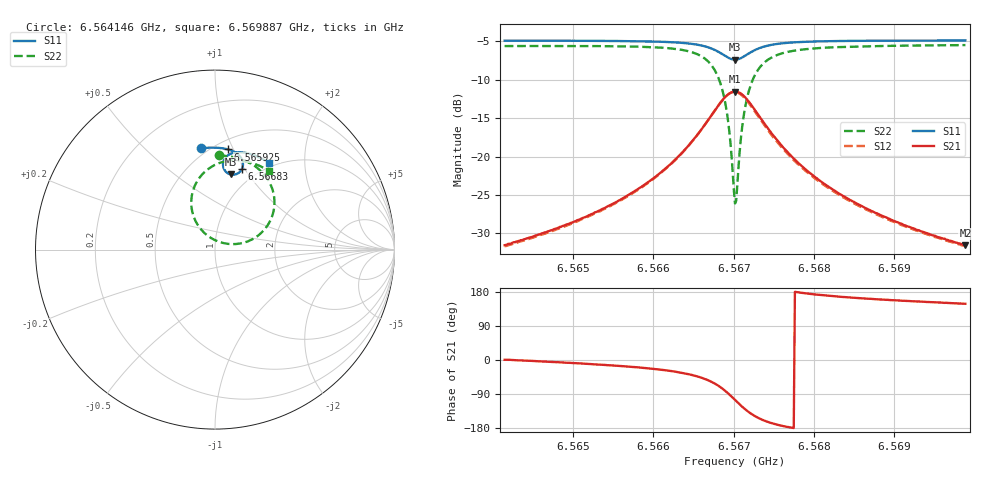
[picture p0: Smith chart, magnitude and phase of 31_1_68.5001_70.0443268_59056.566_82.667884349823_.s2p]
#  HZ  S  RI  R  50.00
! Rohde & Schwarz Vector Network Analyzer
! Rohde-Schwarz,ZNB20-2Port,1311601062101988,3.16
! Created: UTC 3/20/2024, 5:05:04 PM
! freq[Hz]  re:S11  im:S11  re:S21  im:S21  re:S12  im:S12  re:S22  im:S22
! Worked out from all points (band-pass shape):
!   401 points, 6.564146 GHz to 6.569887 GHz, reference 50 ohm
!   highest |S21| = -11.52 dB at 6.567016 GHz (marker M1); lowest = -31.6 dB at 6.569887 GHz (marker M2)
!   |S21| within 3 dB of the highest: 6.56673 GHz to 6.567304 GHz (573.7 kHz wide, 0.00874 % of centre)
!   lowest |S11| = -7.4 dB at 6.567016 GHz (marker M3), VSWR 2.49, Z = 40.6 + j41.6 ohm
!   |S11| at or under -10 dB: nowhere
!   |S22| runs from -26.1 to -5.5 dB; largest |S21 - S12| = 0.012
!   S11 on the Smith chart (normalised r, x): 6.564146 GHz: 0.46, +0.76; 6.565925 GHz: 0.58, +0.95; 6.56683 GHz: 0.84, +0.97; 6.569887 GHz: 0.93, +1.34
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6.5641456e9  -0.079 0.5635  0.0265 0.00029  0.0261 -7.79e-05  0.0199 0.5246
6.5651073e9  -0.00106 0.5679  0.039 -0.00655  0.0384 -0.00688  0.1082 0.5138
6.5659254e9  0.0729 0.5581  0.0628 -0.025  0.0618 -0.0258  0.2077 0.4743
6.566069e9  0.0876 0.5535  0.07 -0.0327  0.0687 -0.0334  0.2303 0.4593
6.5663704e9  0.1211 0.5365  0.089 -0.0612  0.0874 -0.0622  0.2859 0.4029
6.5665857e9  0.1456 0.5108  0.1026 -0.1056  0.1004 -0.1077  0.3251 0.3169
6.5667292e9  0.1557 0.4799  0.0989 -0.1595  0.095 -0.1623  0.3262 0.2141
6.5668297e9  0.1506 0.4503  0.0727 -0.2103  0.0663 -0.2132  0.2812 0.1186
6.5669158e9  0.1301 0.4264  0.0207 -0.2497  0.0111 -0.2503  0.1866 0.0474
6.5669445e9  0.1194 0.4209  -0.00312 -0.2576  -0.0135 -0.2567  0.1434 0.0347
6.567002e9  0.0951 0.4175  -0.0565 -0.2591  -0.0672 -0.2547  0.0487 0.0359
6.5670163e9  0.0886 0.4184  -0.07 -0.2561  -0.0804 -0.2509  0.0254 0.0424
6.567045e9  0.0766 0.4226  -0.0956 -0.2465  -0.1051 -0.2394  -0.0185 0.0623
6.5671024e9  0.0572 0.4376  -0.1373 -0.2144  -0.144 -0.2048  -0.0864 0.1236
6.5671455e9  0.0486 0.4525  -0.1575 -0.1844  -0.1617 -0.1742  -0.1168 0.1787
6.5672029e9  0.0446 0.4729  -0.1702 -0.1442  -0.1715 -0.1343  -0.132 0.2502
6.5672747e9  0.0485 0.495  -0.1701 -0.1012  -0.1691 -0.0928  -0.1235 0.3251
6.567533e9  0.0877 0.5342  -0.1273 -0.0219  -0.1246 -0.0183  -0.0269 0.4565
6.567978e9  0.1462 0.5422  -0.0757 0.00817  -0.074 0.00932  0.0941 0.4967
6.568423e9  0.19 0.5341  -0.0514 0.0136  -0.0503 0.0139  0.1651 0.4925
6.5689397e9  0.2329 0.5193  -0.0366 0.0146  -0.0357 0.0148  0.2233 0.4767
6.569887e9  0.3017 0.4848  -0.0225 0.0138  -0.0221 0.014  0.3031 0.438
